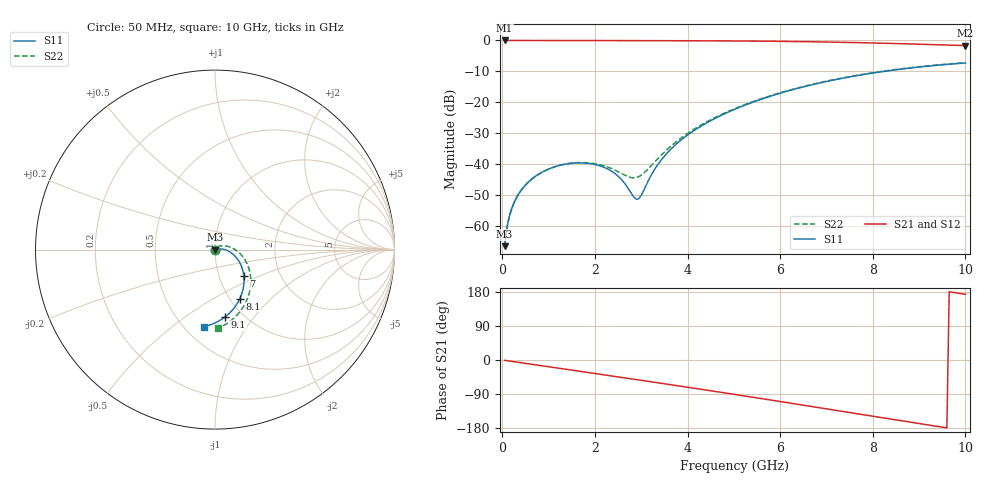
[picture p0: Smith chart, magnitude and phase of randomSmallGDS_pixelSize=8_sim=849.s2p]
! freq	dB(S11)	phase(S11)	dB(S12)	phase(S12)
!  dB(S21)	phase(S21)	dB(S22)	phase(S22)
!S-par simulation data
#  GHz  S  DB  R 50
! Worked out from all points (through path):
!   200 points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, 50 MHz to 10 GHz, reference 50 ohm
!   highest |S21| = 0.00 dB at 50 MHz (marker M1); lowest = -1.7 dB at 10 GHz (marker M2)
!   group delay of S21, straight-line fit = 52.1 ps
!   lowest |S11| = -66.3 dB at 50 MHz (marker M3), VSWR 1.00, Z = 50 - j0.0482 ohm
!   |S11| at or under -10 dB: start of sweep to 8.232 GHz
!   |S22| runs from -66.3 to -7.2 dB; largest |S21 - S12| = 0
!   S11 on the Smith chart (normalised r, x): 50 MHz: 1.00, -0.00; 7 GHz: 1.31, -0.41; 8.1 GHz: 1.11, -0.67; 9.1 GHz: 0.83, -0.73; 10 GHz: 0.62, -0.66
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0.05  -66.33 -86.7  -0.00 -0.9  -0.00 -0.9  -66.35 -87.0
0.1  -60.33 -89.6  -0.00 -1.8  -0.00 -1.8  -60.35 -90.2
0.2  -54.35 -92.3  -0.00 -3.6  -0.00 -3.6  -54.37 -93.5
0.35  -49.58 -95.2  -0.01 -6.3  -0.01 -6.3  -49.60 -97.4
0.5  -46.63 -97.8  -0.01 -9.0  -0.01 -9.0  -46.64 -101.1
1.05  -41.18 -106.8  -0.02 -18.7  -0.02 -18.7  -41.17 -114.4
1.75  -39.51 -116.6  -0.04 -31.2  -0.04 -31.2  -39.37 -134.0
2.1  -40.41 -119.8  -0.04 -37.4  -0.04 -37.4  -40.04 -147.3
2.4  -42.57 -119.5  -0.05 -42.8  -0.05 -42.8  -41.58 -164.1
2.6  -45.30 -114.1  -0.05 -46.4  -0.05 -46.4  -43.09 177.8
2.9  -51.25 -63.0  -0.06 -51.8  -0.06 -51.8  -44.20 131.6
3  -49.97 -29.9  -0.06 -53.6  -0.06 -53.6  -43.46 113.8
3.4  -39.17 8.8  -0.07 -60.8  -0.07 -60.8  -37.47 67.1
4.05  -29.98 7.1  -0.10 -72.8  -0.10 -72.8  -29.49 37.1
5.05  -22.00 -7.6  -0.17 -91.4  -0.17 -91.4  -21.79 11.0
5.85  -17.70 -21.5  -0.26 -106.7  -0.26 -106.7  -17.54 -6.5
6.7  -14.25 -37.0  -0.42 -123.1  -0.42 -123.1  -14.12 -24.2
7  -13.24 -42.5  -0.50 -128.9  -0.50 -128.9  -13.12 -30.3
8.1  -10.29 -63.1  -0.85 -150.3  -0.85 -150.3  -10.18 -52.1
8.35  -9.75 -67.7  -0.94 -155.2  -0.94 -155.2  -9.64 -56.9
9.1  -8.42 -81.5  -1.25 -169.6  -1.25 -169.6  -8.31 -71.2
10  -7.28 -97.8  -1.65 173.4  -1.65 173.4  -7.17 -87.7
